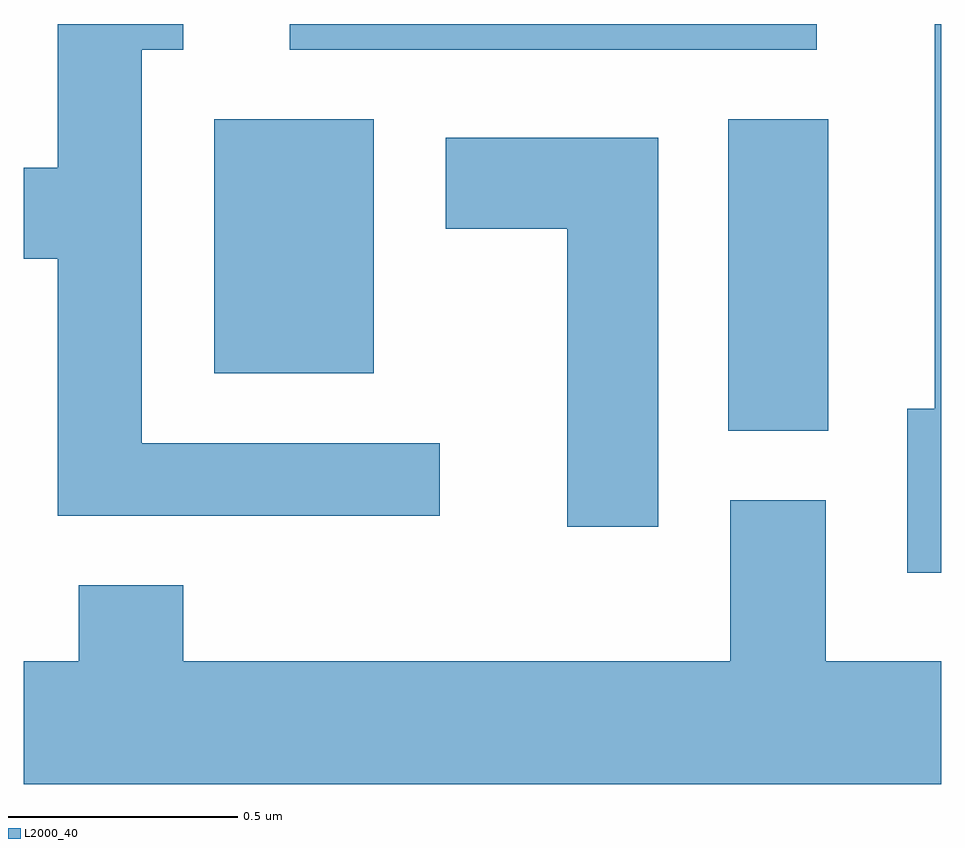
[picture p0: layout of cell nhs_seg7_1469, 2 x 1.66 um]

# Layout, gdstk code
import gdstk
lib = gdstk.Library(unit=1e-6, precision=1e-09)
def R(c, l, rs):  # rectangles x0, y0, x1, y1
    for r in rs: c.add(gdstk.rectangle(r[:2], r[2:], *l))
def P(c, l, *ps):  # polygons
    for p in ps: c.add(gdstk.Polygon(p, *l))
L2000_40 = (2000, 40)

nhs_seg7_1469 = lib.new_cell('nhs_seg7_1469')
R(nhs_seg7_1469, L2000_40, [(197.146,1768.366,197.364,1769.044), (196.026,1768.491,196.374,1769.044), (196.191,1769.196,197.339,1769.252)])
P(nhs_seg7_1469, L2000_40, [(196.518,1768.339),(195.869,1768.339),(195.869,1769.196),(195.959,1769.196),(195.959,1769.252),(195.686,1769.252),(195.686,1768.939),(195.611,1768.939),(195.611,1768.741),(195.686,1768.741),(195.686,1768.181),(196.518,1768.181)],
  [(197.611,1769.252),(197.596,1769.252),(197.596,1768.414),(197.536,1768.414),(197.536,1768.056),(197.611,1768.056)],
  [(196.994,1769.004),(196.531,1769.004),(196.531,1768.806),(196.796,1768.806),(196.796,1768.156),(196.994,1768.156)],
  [(197.611,1767.864),(197.359,1767.864),(197.359,1768.214),(197.151,1768.214),(197.151,1767.864),(195.959,1767.864),(195.959,1768.029),(195.731,1768.029),(195.731,1767.864),(195.611,1767.864),(195.611,1767.596),(197.611,1767.596)])

lib.write_gds('nhs_seg7_1469.gds')
